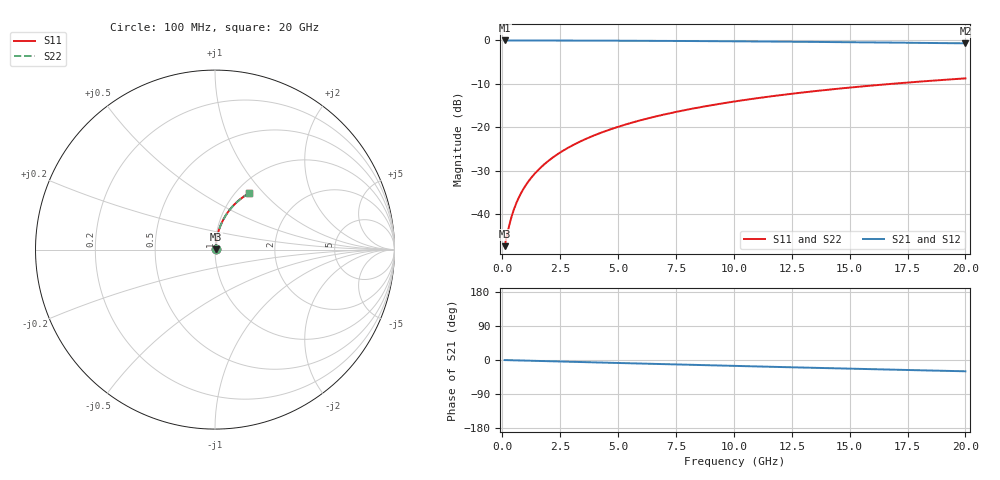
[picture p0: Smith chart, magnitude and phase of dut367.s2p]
! Touchstone file exported from HFSS 2026.1.0
!  File:  C:/ffzhzh/LocalFiles/Ansys_Project_Files/temp_train_BSMRDL_367_1783011731_53980.aedt
!  Generated:  01:03:32 AM Jul  3, 2026
!  Design:  BSMRDL
!  Project:  temp_train_BSMRDL_367_1783011731_53980
! Variables:
!  h_bsmrdl = 2.03um
!  h_ox = 20um
!  h_rdl = 5um
!  h_sub = 80um
!  h_tmrdl = 5um
!  h_tsv = 80um
!  h_via = 3um
!  l_bsmrdl = 327.62um
!  l_sub = 727.62um
!  l_tmrdl = 200um
!  m_sub = 200um
!  pitch = 58.61um
!  r_tsv = 6um
!  s_tmrdl = 10um
!  w_bsmrdl = 16.79um
!  w_sub = 500um
!  w_tmrdl = 12um
!  x_tsv_center1 = 206um
!  x_tsv_center2 = 550.41um
!  x_tsv_center3 = 762.41um
!  x_tsv_center4 = 1106.82um
!  x_tsv_center5 = 1318.82um
!  x_tsv_center6 = 1663.23um
# GHz S MA R 50.000000
! Terminal data exported
! Port[1] = BSM_RDL1_1_T1
! Port[2] = BSM_RDL1_1_T2
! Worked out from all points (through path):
!   200 points, 100 MHz to 20 GHz, reference 50 ohm
!   highest |S21| = -0.03 dB at 100 MHz (marker M1); lowest = -0.7 dB at 20 GHz (marker M2)
!   group delay of S21, straight-line fit = 4.15 ps
!   lowest |S11| = -47.4 dB at 100 MHz (marker M3), VSWR 1.01, Z = 50.4 + j0.215 ohm
!   |S11| at or under -10 dB: start of sweep to 16.84 GHz
!   |S22| runs from -47.4 to -8.8 dB; largest |S21 - S12| = 2.6e-15
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0.1  0.004285 29.9  0.9963 -0.2  0.9963 -0.2  0.004285 29.9
! Gamma 0 0 0 0
! Port Impedance 50 0 50 0
0.3  0.007448 58.8  0.9962 -0.5  0.9962 -0.5  0.007448 58.8
0.4  0.009348 64.9  0.9961 -0.7  0.9961 -0.7  0.009348 64.9
0.5  0.01131 68.8  0.996 -0.8  0.996 -0.8  0.01131 68.8
0.6  0.01329 71.4  0.9959 -1.0  0.9959 -1.0  0.01329 71.4
0.8  0.01727 74.8  0.9957 -1.3  0.9957 -1.3  0.01727 74.8
1.1  0.02325 77.5  0.9954 -1.8  0.9954 -1.8  0.02325 77.5
1.3  0.02724 78.6  0.9952 -2.1  0.9952 -2.1  0.02724 78.6
1.5  0.03123 79.4  0.9951 -2.4  0.9951 -2.4  0.03123 79.4
1.8  0.03723 80.1  0.9948 -2.9  0.9948 -2.9  0.03723 80.1
2.1  0.04323 80.6  0.9945 -3.3  0.9945 -3.3  0.04323 80.5
2.7  0.05524 80.8  0.9938 -4.3  0.9938 -4.3  0.05524 80.8
3.5  0.07125 80.6  0.9927 -5.5  0.9927 -5.5  0.07125 80.6
4.2  0.08522 80.1  0.9915 -6.6  0.9915 -6.6  0.08522 80.1
5  0.1011 79.3  0.9899 -7.9  0.9899 -7.9  0.1011 79.3
5.9  0.1189 78.3  0.9878 -9.3  0.9878 -9.3  0.1189 78.3
6.8  0.1364 77.1  0.9854 -10.7  0.9854 -10.7  0.1364 77.1
8.3  0.1653 75.1  0.9807 -13.0  0.9807 -13.0  0.1653 75.1
10.1  0.1992 72.6  0.9741 -15.7  0.9741 -15.7  0.1992 72.6
13.4  0.2586 68.0  0.9595 -20.6  0.9595 -20.6  0.2586 68.0
16.7  0.3139 63.4  0.9423 -25.3  0.9423 -25.3  0.3139 63.4
20  0.3649 59.0  0.9233 -29.8  0.9233 -29.8  0.3649 59.0
